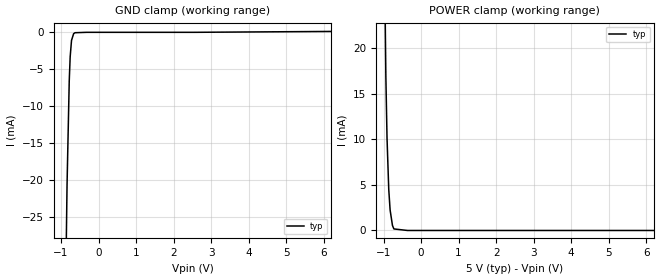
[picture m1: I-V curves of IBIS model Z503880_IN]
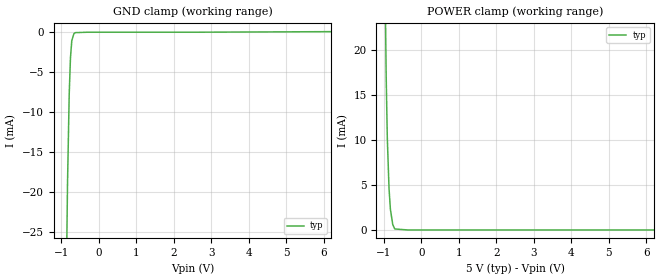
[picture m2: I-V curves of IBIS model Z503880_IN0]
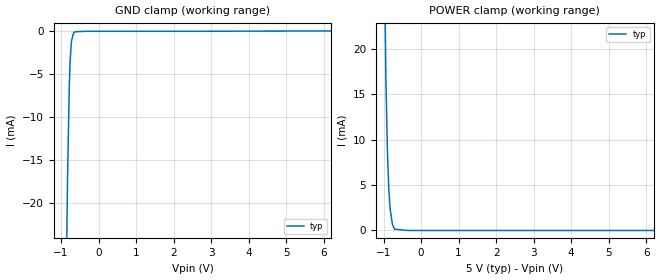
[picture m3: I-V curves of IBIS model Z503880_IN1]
| YOU ARE ONLY AUTHORIZED TO USE THIS SOFTWARE
| ACCORDING TO LICENSOR'S LICENSE RESTRICTIONS.
[IBIS Ver] 3.1
[File Name] mc74act74n.ibs
[File Rev] 2.0
[Source] Measured and created by ICX Technology
[Date] Friday 7/14/00 9:08:02 AM
[Copyright]
| (C) COPYRIGHT 1993-2000
| MENTOR GRAPHICS CORPORATION
| ICX STANDARD LIBRARY, ICX PROJECT MODELING,
| ICX CUSTOM MODELING, ICX VENDOR MODEL
| ALL RIGHTS RESERVED.
| THE FOLLOWING ARE TRADEMARKS OR SERVICE MARKS OF
| MENTOR GRAPHICS CORPORATION:ICX (R), ICX STANDARD
| LIBRARY(R), ICX PROJECT MODELING(R), ICX CUSTOM
| MODELING(R), qualityIBIS(TM), MODELVIEWER(TM),
| AND MODELEDITOR(TM)
| ALL COPIES OF SOFTWARE, INCLUDING BUT NOT LIMITED TO
| ANY MODIFICATIONS, ENHANCEMENTS OR DERIVATIVE WORKS,
| MUST CONTAIN ALL MENTOR GRAPHICS CORPORATION'S
| NOTICES AND LEGENDS, INCLUDING THOSE EMBEDDED IN
| SOFTWARE AND THOSE AFFIXED TO SOFTWARE MEDIUM
| AND CONTAINER, AS RECEIVED FROM MENTOR GRAPHICS
| CORPORATION.
|  ZAP Model Builder 2.7
[Component] MC74ACT74N
[Manufacturer] OnSemiconductor
[Package]
| variable   typ   min   max
R_pkg  .21ohms NA NA
L_pkg  4.543nH NA NA
C_pkg  1.059pF NA NA
[Pin] signal_name  model_name  R_pin  L_pin C_pin
1 _CLR Z503880_IN0 .22 6.757n 1.432p
2 D Z503880_IN .212 4.757n 1.142p
3 CLK Z503880_IN1 .204 3.257n .852p
4 _PRE Z503880_IN2 .196 2.257n .562p
5 Q Z503880_OUT .204 3.257n .852p
6 _Q Z503880_OUT0 .212 4.757n 1.142p
7 GND GND .22 6.757n 1.432p
8 _Q Z503880_OUT0 .22 6.757n 1.432p
9 Q Z503880_OUT .212 4.757n 1.142p
10 _PRE Z503880_IN2 .204 3.257n .852p
11 CLK Z503880_IN1 .196 2.257n .562p
12 D Z503880_IN .204 3.257n .852p
13 _CLR Z503880_IN0 .212 4.757n 1.142p
14 VCC POWER .22 6.757n 1.432p
| Models and submodels in the file (6): Z503880_IN (Input), Z503880_IN0 (Input), Z503880_IN1 (Input), Z503880_IN2 (Input), Z503880_OUT (Output), Z503880_OUT0 (Output)
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| (C) COPYRIGHT 1993-2000
| MENTOR GRAPHICS CORPORATION
| ICX STANDARD LIBRARY, ICX PROJECT MODELING,
| ICX CUSTOM MODELING, ICX VENDOR MODEL
| ALL RIGHTS RESERVED.
| THE FOLLOWING ARE TRADEMARKS OR SERVICE MARKS OF
| MENTOR GRAPHICS CORPORATION:ICX (R), ICX STANDARD
| LIBRARY(R), ICX PROJECT MODELING(R), ICX CUSTOM
| MODELING(R), qualityIBIS(TM), MODELVIEWER(TM),
| AND MODELEDITOR(TM)
| ALL COPIES OF SOFTWARE, INCLUDING BUT NOT LIMITED TO
| ANY MODIFICATIONS, ENHANCEMENTS OR DERIVATIVE WORKS,
| MUST CONTAIN ALL MENTOR GRAPHICS CORPORATION'S
| NOTICES AND LEGENDS, INCLUDING THOSE EMBEDDED IN
| SOFTWARE AND THOSE AFFIXED TO SOFTWARE MEDIUM
| AND CONTAINER, AS RECEIVED FROM MENTOR GRAPHICS
| CORPORATION.
| Model Application Version 1.89 2/18/99.
[Model] Z503880_IN
Model_type Input
Vinl = 800.0mV
Vinh = 2.000V
C_comp 4.000pF NA NA
| variable typ   min   max
[Voltage Range] 5.000V NA NA
[GND Clamp Reference] 0.000V NA NA
[POWER Clamp Reference] 5.000V NA NA
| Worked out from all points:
|   GND clamp passes 1 mA (typ) near -0.72 V on its own axis
|   POWER clamp passes 1 mA (typ) near -0.78 V on its own axis
[GND Clamp]
-5V       -1.61A     NA         NA
-839.7mV  -20.65mA   NA         NA
-781.3mV  -6.573mA   NA         NA
-756.5mV  -3.312mA   NA         NA
-720.6mV  -1.09mA    NA         NA
-664.2mV  -178.8uA   NA         NA
-625.5mV  -48.28uA   NA         NA
-312.8mV  6.47uA     NA         NA
2.569V    6.47uA     NA         NA
10V       251uA      NA         NA
[POWER Clamp]
-5V       2.302A     NA         NA
-1.006V   41.76mA    NA         NA
-938mV    16.87mA    NA         NA
-907mV    10.13mA    NA         NA
-861mV    4.516mA    NA         NA
-825mV    2.251mA    NA         NA
-762mV    550.4uA    NA         NA
-724mV    169uA      NA         NA
-362mV    0A         NA         NA
10V       0A         NA         NA
| (C) COPYRIGHT 1993-2000
| MENTOR GRAPHICS CORPORATION
| ICX STANDARD LIBRARY, ICX PROJECT MODELING,
| ICX CUSTOM MODELING, ICX VENDOR MODEL
| ALL RIGHTS RESERVED.
| THE FOLLOWING ARE TRADEMARKS OR SERVICE MARKS OF
| MENTOR GRAPHICS CORPORATION:ICX (R), ICX STANDARD
| LIBRARY(R), ICX PROJECT MODELING(R), ICX CUSTOM
| MODELING(R), qualityIBIS(TM), MODELVIEWER(TM),
| AND MODELEDITOR(TM)
| ALL COPIES OF SOFTWARE, INCLUDING BUT NOT LIMITED TO
| ANY MODIFICATIONS, ENHANCEMENTS OR DERIVATIVE WORKS,
| MUST CONTAIN ALL MENTOR GRAPHICS CORPORATION'S
| NOTICES AND LEGENDS, INCLUDING THOSE EMBEDDED IN
| SOFTWARE AND THOSE AFFIXED TO SOFTWARE MEDIUM
| AND CONTAINER, AS RECEIVED FROM MENTOR GRAPHICS
| CORPORATION.
| Model Application Version 1.89 2/18/99.
[Model] Z503880_IN0
Model_type Input
Vinl = 800.0mV
Vinh = 2.000V
C_comp 4.000pF NA NA
| variable typ   min   max
[Voltage Range] 5.000V NA NA
[GND Clamp Reference] 0.000V NA NA
[POWER Clamp Reference] 5.000V NA NA
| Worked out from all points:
|   GND clamp passes 1 mA (typ) near -0.72 V on its own axis
|   POWER clamp passes 1 mA (typ) near -0.78 V on its own axis
[GND Clamp]
-5V       -1.616A    NA         NA
-835mV    -19.05mA   NA         NA
-789.5mV  -7.744mA   NA         NA
-756.8mV  -3.263mA   NA         NA
-721.2mV  -1.056mA   NA         NA
-664.1mV  -170.8uA   NA         NA
-625.3mV  -46.79uA   NA         NA
-312.6mV  5.516uA    NA         NA
2.559V    5.516uA    NA         NA
10V       154uA      NA         NA
[POWER Clamp]
-5V       2.424A     NA         NA
-1.006V   41.89mA    NA         NA
-937mV    16.96mA    NA         NA
-907mV    10.2mA     NA         NA
-861mV    4.58mA     NA         NA
-825mV    2.311mA    NA         NA
-762mV    600.2uA    NA         NA
-707mV    109.1uA    NA         NA
-353.5mV  0A         NA         NA
10V       0A         NA         NA
| (C) COPYRIGHT 1993-2000
| MENTOR GRAPHICS CORPORATION
| ICX STANDARD LIBRARY, ICX PROJECT MODELING,
| ICX CUSTOM MODELING, ICX VENDOR MODEL
| ALL RIGHTS RESERVED.
| THE FOLLOWING ARE TRADEMARKS OR SERVICE MARKS OF
| MENTOR GRAPHICS CORPORATION:ICX (R), ICX STANDARD
| LIBRARY(R), ICX PROJECT MODELING(R), ICX CUSTOM
| MODELING(R), qualityIBIS(TM), MODELVIEWER(TM),
| AND MODELEDITOR(TM)
| ALL COPIES OF SOFTWARE, INCLUDING BUT NOT LIMITED TO
| ANY MODIFICATIONS, ENHANCEMENTS OR DERIVATIVE WORKS,
| MUST CONTAIN ALL MENTOR GRAPHICS CORPORATION'S
| NOTICES AND LEGENDS, INCLUDING THOSE EMBEDDED IN
| SOFTWARE AND THOSE AFFIXED TO SOFTWARE MEDIUM
| AND CONTAINER, AS RECEIVED FROM MENTOR GRAPHICS
| CORPORATION.
| Model Application Version 1.89 2/18/99.
[Model] Z503880_IN1
Model_type Input
Vinl = 800.0mV
Vinh = 2.000V
C_comp 4.000pF NA NA
| variable typ   min   max
[Voltage Range] 5.000V NA NA
[GND Clamp Reference] 0.000V NA NA
[POWER Clamp Reference] 5.000V NA NA
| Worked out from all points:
|   GND clamp passes 1 mA (typ) near -0.71 V on its own axis
|   POWER clamp passes 1 mA (typ) near -0.77 V on its own axis
[GND Clamp]
-5V       -1.649A    NA         NA
-829.4mV  -17.82mA   NA         NA
-781.3mV  -6.61mA    NA         NA
-756.7mV  -3.337mA   NA         NA
-720.5mV  -1.095mA   NA         NA
-664.1mV  -179.9uA   NA         NA
-625.6mV  -48.57uA   NA         NA
-312.8mV  5.707uA    NA         NA
2.549V    5.707uA    NA         NA
10V       90.71uA    NA         NA
[POWER Clamp]
-5V       2.137A     NA         NA
-1.016V   44.83mA    NA         NA
-938mV    16.93mA    NA         NA
-898mV    8.937mA    NA         NA
-860mV    4.646mA    NA         NA
-825mV    2.378mA    NA         NA
-762mV    655.5uA    NA         NA
-708mV    141.8uA    NA         NA
-354mV    0A         NA         NA
10V       0A         NA         NA
